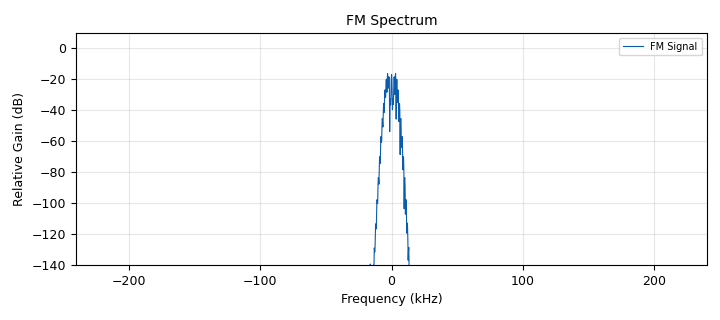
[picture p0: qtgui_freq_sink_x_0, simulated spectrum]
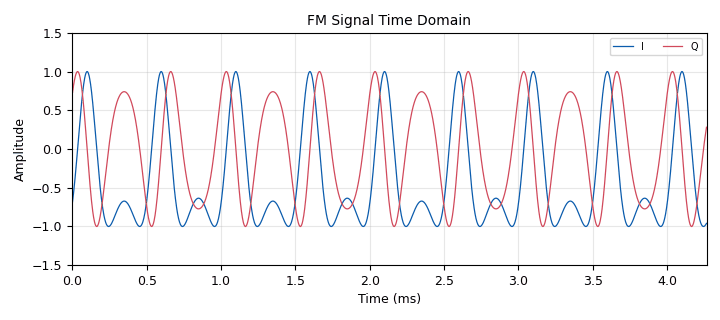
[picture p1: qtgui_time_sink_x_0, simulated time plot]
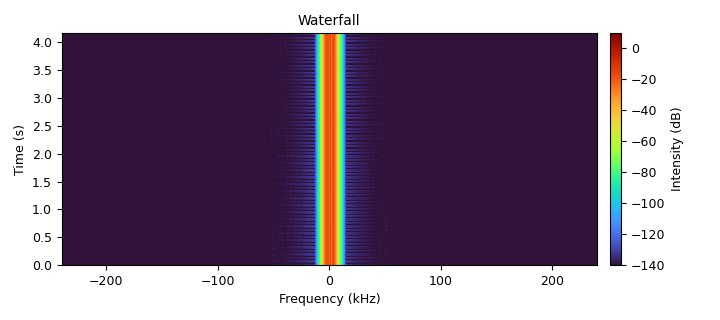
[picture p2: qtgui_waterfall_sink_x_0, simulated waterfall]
options:
  parameters:
    author: Workshop
    comment: FM transmitter demonstration
    description: Frequency modulation example
    generate_options: qt_gui
    id: fm_transmitter
    output_language: python
    title: FM Transmitter Demo
  states: {}

blocks:
- name: audio_rate
  id: variable
  parameters:
    value: '48000'
  states: {}
- name: deviation
  id: variable_qtgui_range
  parameters:
    gui_hint: 1,0,1,2
    label: Frequency Deviation (Hz)
    start: '1000'
    step: '1000'
    stop: '75000'
    value: '5000'
  states: {}
- name: message_freq
  id: variable_qtgui_range
  parameters:
    gui_hint: 0,0,1,2
    label: Message Frequency (Hz)
    start: '100'
    step: '100'
    stop: '5000'
    value: '1000'
  states: {}
- name: noise_amp
  id: variable_qtgui_range
  parameters:
    gui_hint: 2,0,1,2
    label: Noise Amplitude
    start: '0'
    step: '0.01'
    stop: '1'
    value: '0'
  states: {}
- name: samp_rate
  id: variable
  parameters:
    value: '480000'
  states: {}
- name: analog_frequency_modulator_fc_0
  id: analog_frequency_modulator_fc
  parameters:
    comment: FM modulator
    sensitivity: 2*3.14159*deviation/samp_rate
  states: {}
- name: analog_noise_source_x_0
  id: analog_noise_source_x
  parameters:
    amp: noise_amp
    noise_type: analog.GR_GAUSSIAN
    seed: '0'
    type: complex
  states: {}
- name: analog_quadrature_demod_cf_0
  id: analog_quadrature_demod_cf
  parameters:
    comment: FM demodulator for monitoring
    gain: samp_rate/(2*3.14159*deviation)
  states: {}
- name: analog_sig_source_x_0
  id: analog_sig_source_x
  parameters:
    amp: '0.8'
    comment: Message signal
    freq: message_freq
    offset: '0'
    phase: '0'
    samp_rate: samp_rate
    type: float
    waveform: analog.GR_COS_WAVE
  states: {}
- name: audio_sink_0
  id: audio_sink
  parameters:
    comment: Demodulated audio output
    samp_rate: audio_rate
  states: {}
- name: blocks_add_xx_0
  id: blocks_add_xx
  parameters:
    type: complex
  states: {}
- name: blocks_throttle2_0
  id: blocks_throttle2
  parameters:
    samples_per_second: samp_rate
    type: complex
  states: {}
- name: qtgui_freq_sink_x_0
  id: qtgui_freq_sink_x
  parameters:
    bw: samp_rate
    fc: '0'
    fftsize: '2048'
    grid: 'True'
    gui_hint: 3,0,2,2
    label1: FM Signal
    name: '"FM Spectrum"'
    type: complex
  states: {}
- name: qtgui_time_sink_x_0
  id: qtgui_time_sink_x
  parameters:
    grid: 'True'
    gui_hint: 5,0,2,2
    label1: I
    label2: Q
    name: '"FM Signal Time Domain"'
    size: '2048'
    srate: samp_rate
    type: complex
    ymax: '1.5'
    ymin: '-1.5'
  states: {}
- name: qtgui_waterfall_sink_x_0
  id: qtgui_waterfall_sink_x
  parameters:
    bw: samp_rate
    fc: '0'
    fftsize: '2048'
    gui_hint: 7,0,2,2
    name: '"Waterfall"'
    type: complex
  states: {}
- name: rational_resampler_xxx_0
  id: rational_resampler_xxx
  parameters:
    comment: Downsample for audio
    decim: '10'
    interp: '1'
    type: fff
  states: {}

connections:
- [analog_frequency_modulator_fc_0, '0', blocks_throttle2_0, '0']
- [analog_noise_source_x_0, '0', blocks_add_xx_0, '1']
- [analog_quadrature_demod_cf_0, '0', rational_resampler_xxx_0, '0']
- [analog_sig_source_x_0, '0', analog_frequency_modulator_fc_0, '0']
- [blocks_add_xx_0, '0', analog_quadrature_demod_cf_0, '0']
- [blocks_add_xx_0, '0', qtgui_freq_sink_x_0, '0']
- [blocks_add_xx_0, '0', qtgui_time_sink_x_0, '0']
- [blocks_add_xx_0, '0', qtgui_waterfall_sink_x_0, '0']
- [blocks_throttle2_0, '0', blocks_add_xx_0, '0']
- [rational_resampler_xxx_0, '0', audio_sink_0, '0']

metadata:
  file_format: 1
  grc_version: 3.10.7.0
